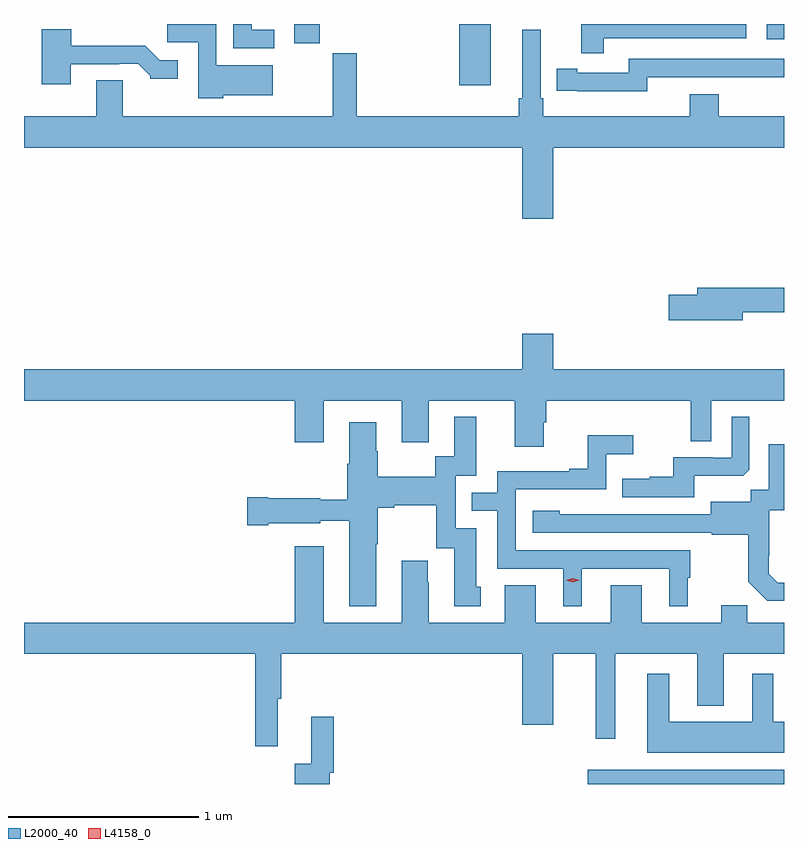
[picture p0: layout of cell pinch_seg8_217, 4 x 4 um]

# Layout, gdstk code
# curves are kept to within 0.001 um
import gdstk
lib = gdstk.Library(unit=1e-6, precision=1e-09)
def R(c, l, rs):  # rectangles x0, y0, x1, y1
    for r in rs: c.add(gdstk.rectangle(r[:2], r[2:], *l))
def P(c, l, *ps):  # polygons
    for p in ps: c.add(gdstk.Polygon(p, *l))
L2000_40 = (2000, 40)
L4158_0 = (4158, 0)

pinch_seg8_217 = lib.new_cell('pinch_seg8_217')
R(pinch_seg8_217, L2000_40, [(656.862,1113.15,657.894,1113.226), (656.186,1116.828,656.35,1117.15), (655.316,1117.05,655.451,1117.15), (657.804,1117.071,657.894,1117.15)])
P(pinch_seg8_217, L2000_40, [(654.942,1116.776),(655.204,1116.776),(655.204,1116.934),(654.906,1116.934),(654.906,1117.15),(654.647,1117.15),(654.647,1117.053),(654.81,1117.053),(654.81,1116.758),(654.942,1116.758)],
  [(656.945,1117.074),(657.694,1117.074),(657.694,1117.15),(656.828,1117.15),(656.828,1116.996),(656.945,1116.996)],
  [(655.21,1117.119),(655.092,1117.119),(655.092,1117.15),(654.996,1117.15),(654.996,1117.023),(655.21,1117.023)],
  [(654.139,1116.939),(654.395,1116.939),(654.395,1116.942),(654.494,1116.942),(654.558,1116.878),(654.558,1116.863),(654.703,1116.863),(654.703,1116.96),(654.609,1116.96),(654.533,1117.036),(654.142,1117.036),(654.142,1117.123),(653.987,1117.123),(653.987,1116.834),(654.139,1116.834)],
  [(656.68,1116.5),(657.894,1116.5),(657.894,1116.664),(657.551,1116.664),(657.551,1116.781),(657.398,1116.781),(657.398,1116.664),(656.627,1116.664),(656.627,1116.76),(656.613,1116.76),(656.613,1117.12),(656.516,1117.12),(656.516,1116.76),(656.497,1116.76),(656.497,1116.664),(655.646,1116.664),(655.646,1116.997),(655.518,1116.997),(655.518,1116.664),(654.415,1116.664),(654.415,1116.854),(654.275,1116.854),(654.275,1116.664),(653.894,1116.664),(653.894,1116.5),(656.516,1116.5),(656.516,1116.126),(656.68,1116.126)],
  [(657.174,1116.87),(657.634,1116.87),(657.634,1116.869),(657.894,1116.869),(657.894,1116.966),(657.078,1116.966),(657.078,1116.894),(656.806,1116.894),(656.806,1116.914),(656.698,1116.914),(656.698,1116.798),(656.806,1116.798),(656.806,1116.797),(657.174,1116.797)],
  [(657.676,1115.634),(657.894,1115.634),(657.894,1115.762),(657.437,1115.762),(657.437,1115.726),(657.288,1115.726),(657.288,1115.591),(657.676,1115.591)],
  [(656.629,1115.055),(656.642,1115.055),(656.642,1115.168),(657.402,1115.168),(657.402,1114.954),(657.51,1114.954),(657.51,1115.168),(657.894,1115.168),(657.894,1115.332),(656.68,1115.332),(656.68,1115.521),(656.516,1115.521),(656.516,1115.332),(653.894,1115.332),(653.894,1115.168),(655.319,1115.168),(655.319,1114.95),(655.471,1114.95),(655.471,1115.168),(655.883,1115.168),(655.883,1114.95),(656.023,1114.95),(656.023,1115.168),(656.477,1115.168),(656.477,1114.926),(656.629,1114.926)],
  [(657.421,1114.772),(657.679,1114.772),(657.711,1114.803),(657.711,1115.083),(657.618,1115.083),(657.618,1114.866),(657.518,1114.866),(657.518,1114.869),(657.311,1114.869),(657.311,1114.768),(657.187,1114.768),(657.187,1114.756),(657.043,1114.756),(657.043,1114.659),(657.421,1114.659)],
  [(655.747,1114.411),(655.755,1114.411),(655.755,1114.604),(655.843,1114.604),(655.843,1114.616),(656.063,1114.616),(656.063,1114.392),(656.159,1114.392),(656.159,1114.086),(656.299,1114.086),(656.299,1114.188),(656.275,1114.188),(656.275,1114.497),(656.166,1114.497),(656.166,1114.773),(656.275,1114.773),(656.275,1115.083),(656.159,1115.083),(656.159,1114.874),(656.058,1114.874),(656.058,1114.768),(655.755,1114.768),(655.755,1114.902),(655.747,1114.902),(655.747,1115.053),(655.607,1115.053),(655.607,1114.835),(655.595,1114.835),(655.595,1114.645),(655.452,1114.645),(655.452,1114.653),(655.18,1114.653),(655.18,1114.658),(655.068,1114.658),(655.068,1114.511),(655.18,1114.511),(655.18,1114.523),(655.452,1114.523),(655.452,1114.535),(655.607,1114.535),(655.607,1114.085),(655.747,1114.085)],
  [(656.83,1114.284),(657.29,1114.284),(657.29,1114.085),(657.388,1114.085),(657.388,1114.236),(657.4,1114.236),(657.4,1114.38),(656.481,1114.38),(656.481,1114.701),(656.958,1114.701),(656.958,1114.886),(657.1,1114.886),(657.1,1114.985),(656.86,1114.985),(656.86,1114.81),(656.765,1114.81),(656.765,1114.797),(656.385,1114.797),(656.385,1114.683),(656.251,1114.683),(656.251,1114.587),(656.385,1114.587),(656.385,1114.284),(656.732,1114.284),(656.732,1114.085),(656.83,1114.085)],
  [(657.894,1114.209),(657.861,1114.209),(657.814,1114.256),(657.814,1114.351),(657.816,1114.351),(657.816,1114.592),(657.894,1114.592),(657.894,1114.939),(657.815,1114.939),(657.815,1114.7),(657.72,1114.7),(657.72,1114.636),(657.509,1114.636),(657.509,1114.569),(656.715,1114.57),(656.715,1114.588),(656.571,1114.588),(656.571,1114.473),(657.513,1114.473),(657.513,1114.461),(657.705,1114.461),(657.705,1114.215),(657.805,1114.115),(657.894,1114.115)],
  [(655.229,1113.6),(655.247,1113.6),(655.247,1113.836),(656.516,1113.836),(656.516,1113.462),(656.68,1113.462),(656.68,1113.836),(656.903,1113.836),(656.903,1113.387),(657.007,1113.387),(657.007,1113.836),(657.437,1113.836),(657.437,1113.563),(657.577,1113.563),(657.577,1113.836),(657.894,1113.836),(657.894,1114),(657.701,1114),(657.701,1114.091),(657.563,1114.091),(657.563,1114),(657.145,1114),(657.145,1114.195),(656.981,1114.195),(656.981,1114),(656.587,1114),(656.587,1114.195),(656.423,1114.195),(656.423,1114),(656.023,1114),(656.023,1114.211),(656.02,1114.211),(656.02,1114.324),(655.883,1114.324),(655.883,1114),(655.471,1114),(655.471,1114.402),(655.319,1114.402),(655.319,1114),(653.894,1114),(653.894,1113.836),(655.111,1113.836),(655.111,1113.348),(655.229,1113.348)],
  [(657.894,1113.478),(657.838,1113.478),(657.838,1113.73),(657.728,1113.73),(657.728,1113.478),(657.289,1113.478),(657.289,1113.73),(657.173,1113.73),(657.173,1113.314),(657.894,1113.314)],
  [(655.503,1113.208),(655.523,1113.208),(655.523,1113.505),(655.406,1113.505),(655.406,1113.257),(655.32,1113.257),(655.32,1113.15),(655.503,1113.15)])
P(pinch_seg8_217, L4158_0, [(656.781,1114.212),(656.745,1114.222),(656.745,1114.222),(656.745,1114.222),(656.781,1114.232),(656.817,1114.222),(656.817,1114.222),(656.817,1114.222)])

lib.write_gds('pinch_seg8_217.gds')
